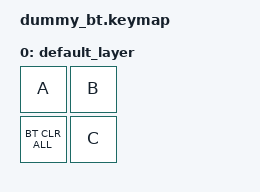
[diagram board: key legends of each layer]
#include <behaviors.dtsi>
#include <dt-bindings/zmk/keys.h>
#include <dt-bindings/zmk/bt.h>

/ {
    keymap {
        compatible = "zmk,keymap";

        default_layer {
            bindings = <
    &kp A           &kp B
    &bt BT_CLR_ALL  &kp C
            >;
// Default Pin configuration translates to the following matrix
// Connecting these pins with tweezers to press the buttons:
// 15 + 16 = A 
// 15 + 10 = B
// 14 + 16 = BT_CLR_ALL
// 14 + 10 = C
        };
    };
};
